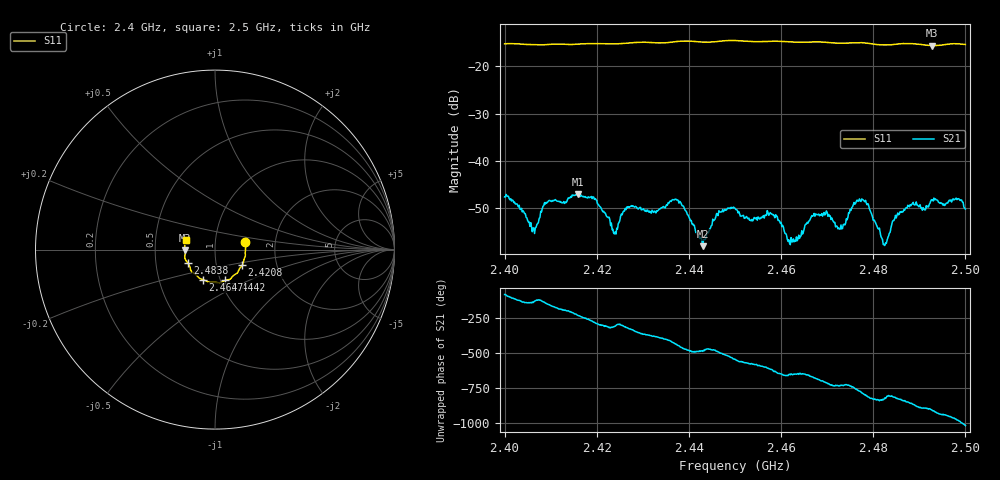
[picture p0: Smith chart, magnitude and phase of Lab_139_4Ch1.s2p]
# Hz S RI R 50
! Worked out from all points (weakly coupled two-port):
!   601 points, 2.4 GHz to 2.5 GHz, reference 50 ohm
!   highest |S21| = -47.06 dB at 2.416 GHz (marker M1); lowest = -58.0 dB at 2.443 GHz (marker M2)
!   lowest |S11| = -15.6 dB at 2.4928 GHz (marker M3), VSWR 1.40, Z = 35.8 - j0.356 ohm
!   |S11| at or under -10 dB: start of sweep to end of sweep
!   S12 and S22 are empty: the file has one direction only
!   S11 on the Smith chart (normalised r, x): 2.4 GHz: 1.40, +0.12; 2.4208 GHz: 1.33, -0.24; 2.4442 GHz: 1.05, -0.37; 2.4647 GHz: 0.83, -0.29; 2.4838 GHz: 0.73, -0.11; 2.5 GHz: 0.72, +0.08
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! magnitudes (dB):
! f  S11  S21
! 2.4 GHz  -15.2  -47.6
! 2.4063 GHz  -15.4  -54.2
! 2.4092 GHz  -15.4  -48.9
! 2.416 GHz  -15.3  -47.1
! 2.4167 GHz  -15.2  -47.3
! 2.4208 GHz  -15.2  -49.8
! 2.4238 GHz  -15.2  -55.5
! 2.427 GHz  -15.0  -49.9
! 2.4333 GHz  -15.0  -50.4
! 2.4377 GHz  -14.7  -48.3
! 2.443 GHz  -14.9  -58.0
! 2.4442 GHz  -14.9  -55.3
! 2.45 GHz  -14.5  -50.0
! 2.462 GHz  -14.8  -57.7
! 2.4647 GHz  -14.9  -55.5
! 2.4667 GHz  -14.8  -51.6
! 2.4728 GHz  -15.1  -54.4
! 2.4778 GHz  -15.0  -48.3
! 2.4833 GHz  -15.5  -55.9
! 2.4838 GHz  -15.4  -54.2
! 2.4928 GHz  -15.6  -48.3
! 2.5 GHz  -15.4  -50.2
